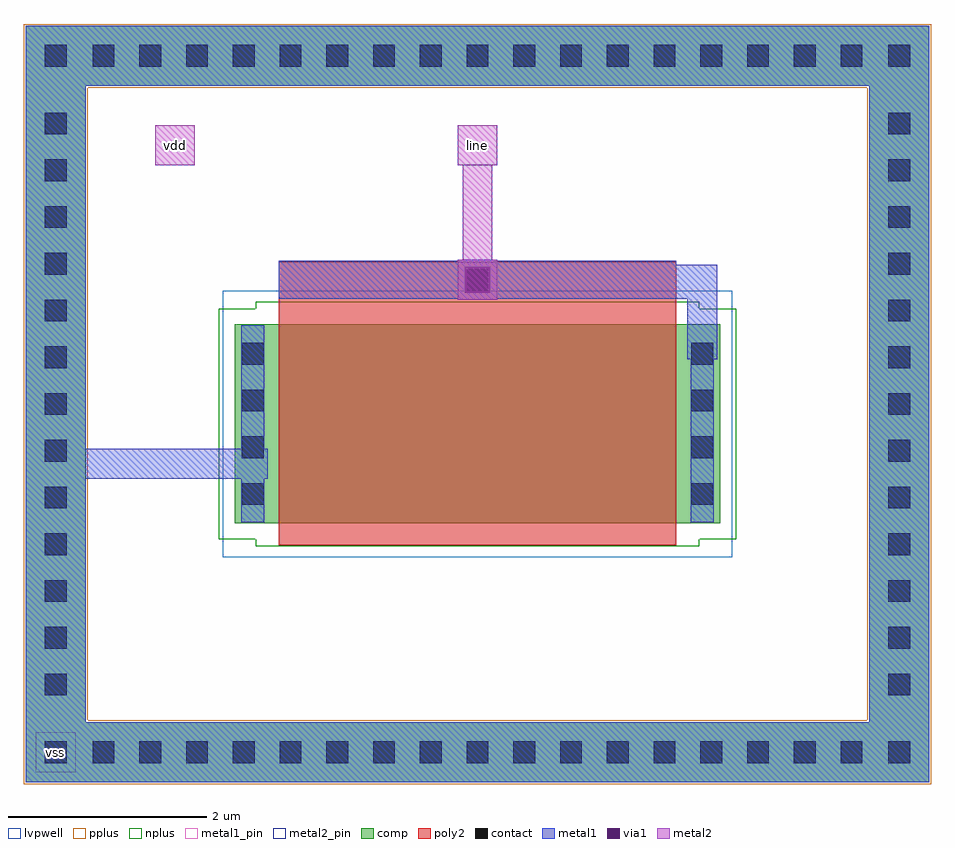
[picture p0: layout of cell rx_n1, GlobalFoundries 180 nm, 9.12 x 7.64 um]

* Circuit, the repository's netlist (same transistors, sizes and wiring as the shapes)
* NGSPICE file created from rx_n1.ext - technology: gf180mcuD

.subckt n_w2_l4 a_400_n200# a_n400_n244# a_n488_n200# VSUBS
X0 a_400_n200# a_n400_n244# a_n488_n200# VSUBS nfet_03v3 ad=0.88p pd=4.88u as=0.88p ps=4.88u w=2u l=4u
.ends

.subckt rx_n1 line vdd vss
XD line line vss vss n_w2_l4
.ends

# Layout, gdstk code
import gdstk
lib = gdstk.Library(unit=1e-6, precision=1e-09)
def R(c, l, rs):  # rectangles x0, y0, x1, y1
    for r in rs: c.add(gdstk.rectangle(r[:2], r[2:], *l))
def A(c, l, x, y, w, h, nx, ny, dx, dy):  # array of equal rectangles
    R(c, l, [(x+i*dx, y+j*dy, x+i*dx+w, y+j*dy+h) for i in range(nx) for j in range(ny)])
comp = (22, 0)
poly2 = (30, 0)
pplus = (31, 0)
nplus = (32, 0)
contact = (33, 0)
metal1 = (34, 0)
metal1_pin = (34, 10)
via1 = (35, 0)
metal2 = (36, 0)
metal2_pin = (36, 10)
lvpwell = (204, 0)

n_w2_l4 = lib.new_cell('n_w2_l4')
R(n_w2_l4, comp, [(-2.44,-1,2.44,1)])
R(n_w2_l4, poly2, [(-2,-1.22,2,1.22)])
R(n_w2_l4, nplus, [(-2.23,-1.23,2.23,-1.16), (-2.6,-1.16,2.6,1.16), (-2.23,1.16,2.23,1.23)])
A(n_w2_l4, contact, -2.37, -0.815, 0.22, 0.22, 1, 4, 0, 0.47)
A(n_w2_l4, contact, 2.15, -0.815, 0.22, 0.22, 1, 4, 0, 0.47)
R(n_w2_l4, metal1, [(-2.375,-0.99,-2.145,0.99), (2.145,-0.99,2.375,0.99)])
R(n_w2_l4, lvpwell, [(-2.56,-1.34,2.56,1.34)])

rx_n1 = lib.new_cell('rx_n1')
R(rx_n1, comp, [(0,0,9.08,0.6), (0,0.6,0.6,7), (8.48,0.6,9.08,7), (0,7,9.08,7.6)])
R(rx_n1, poly2, [(2.54,4.6,6.54,5.23)])
R(rx_n1, pplus, [(-0.02,-0.02,9.1,0.62), (-0.02,0.62,0.62,6.98), (8.46,0.62,9.1,6.98), (-0.02,6.98,9.1,7.62)])
A(rx_n1, contact, 0.67, 0.19, 0.22, 0.22, 17, 2, 0.47, 7)
A(rx_n1, contact, 0.19, 0.87, 0.22, 0.22, 1, 13, 0, 0.47)
A(rx_n1, contact, 8.67, 0.87, 0.22, 0.22, 1, 13, 0, 0.47)
R(rx_n1, contact, [(0.19,0.19,0.41,0.41), (8.67,0.19,8.89,0.41), (4.43,4.94,4.65,5.16), (0.19,7.19,0.41,7.41), (8.67,7.19,8.89,7.41)])
R(rx_n1, metal1, [(0,0,9.08,0.6), (0,0.6,0.6,3.05), (8.48,0.6,9.08,7), (0,3.05,2.43,3.35), (0,3.35,0.6,7), (6.65,4.25,6.95,4.86), (4.34,4.85,4.74,4.86), (2.54,4.86,6.95,5.2), (2.54,5.2,6.54,5.24), (4.34,5.24,4.74,5.25), (0,7,9.08,7.6)])
R(rx_n1, metal1_pin, [(0.1,0.1,0.5,0.5)])
R(rx_n1, via1, [(4.41,4.92,4.67,5.18)])
R(rx_n1, metal2, [(4.34,4.85,4.74,5.25), (4.39,5.25,4.69,6.2), (1.3,6.2,1.7,6.6), (4.34,6.2,4.74,6.6)])
R(rx_n1, metal2_pin, [(1.3,6.2,1.7,6.6), (4.34,6.2,4.74,6.6)])
rx_n1.add(gdstk.Reference(n_w2_l4, (4.54,3.6)))
rx_n1.add(gdstk.Label('line', (4.54,6.4), layer=36, texttype=10))
rx_n1.add(gdstk.Label('vdd', (1.5,6.4), layer=36, texttype=10))
rx_n1.add(gdstk.Label('vss', (0.3,0.3), layer=34, texttype=10))

lib.write_gds('rx_n1.gds')
